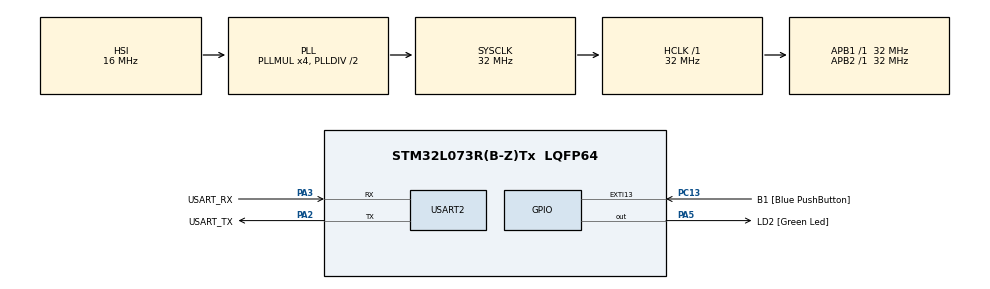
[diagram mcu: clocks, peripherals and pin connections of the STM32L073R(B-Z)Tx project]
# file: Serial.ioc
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Mcu.Family=STM32L0
Mcu.Name=STM32L073R(B-Z)Tx
Mcu.Package=LQFP64
PA13.GPIO_Label=TMS
PA13.Mode=Serial_Wire
PA13.Signal=SYS_SWDIO
PA14.GPIO_Label=TCK
PA14.Mode=Serial_Wire
PA14.Signal=SYS_SWCLK
PA2.GPIO_Label=USART_TX
PA2.Mode=Asynchronous
PA2.Signal=USART2_TX
PA3.GPIO_Label=USART_RX
PA3.Mode=Asynchronous
PA3.Signal=USART2_RX
PA5.GPIO_Label=LD2 [Green Led]
PA5.Signal=GPIO_Output
PC13.GPIO_Label=B1 [Blue PushButton]
PC13.GPIO_ModeDefaultEXTI=GPIO_MODE_IT_FALLING
PC13.Signal=GPXTI13
PC14-OSC32_IN.Signal=RCC_OSC32_IN
PC15-OSC32_OUT.Signal=RCC_OSC32_OUT
PH0-OSC_IN.GPIO_Label=MCO
PH0-OSC_IN.Signal=RCC_OSC_IN
ProjectManager.HeapSize=0x200
ProjectManager.StackSize=0x400
ProjectManager.TargetToolchain=STM32CubeIDE
RCC.AHBFreq_Value=32000000
RCC.APB1Freq_Value=32000000
RCC.APB1TimFreq_Value=32000000
RCC.APB2Freq_Value=32000000
RCC.APB2TimFreq_Value=32000000
RCC.HCLKFreq_Value=32000000
RCC.HSE_VALUE=8000000
RCC.HSI16_VALUE=16000000
RCC.HSI48_VALUE=48000000
RCC.HSI_VALUE=16000000
RCC.MSI_VALUE=2097000
RCC.PLLMUL=RCC_PLLMUL_4
RCC.SYSCLKFreq_VALUE=32000000
RCC.SYSCLKSource=RCC_SYSCLKSOURCE_PLLCLK
RCC.VCOOutputFreq_Value=64000000
USART2.VirtualMode-Asynchronous=VM_ASYNC
board=NUCLEO-L073RZ

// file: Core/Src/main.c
/* USER CODE BEGIN Header */
/**
  ******************************************************************************
  * @file           : main.c
  * @brief          : Main program body
  ******************************************************************************
  * @attention
  *
  * <h2><center>&copy; Copyright (c) 2019 STMicroelectronics.
  * All rights reserved.</center></h2>
  *
  * This software component is licensed by ST under BSD 3-Clause license,
  * the "License"; You may not use this file except in compliance with the
  * License. You may obtain a copy of the License at:
  *                        opensource.org/licenses/BSD-3-Clause
  *
  ******************************************************************************
  */
/* USER CODE END Header */

#include "main.h"
#include "usart.h"
#include "gpio.h"

/* USER CODE BEGIN PD */

#define MSG1 " Menu:\n\r Press 2: Toggle (for 5 sec. @5 Hz )\n\r Press 1:On Led\n\r Press 0:Off Led\n\r "
#define led_on HAL_GPIO_WritePin(LD2_GPIO_Port, LD2_Pin, 1)
#define led_off HAL_GPIO_WritePin(LD2_GPIO_Port, LD2_Pin, 0)
#define led_toggle HAL_GPIO_TogglePin(LD2_GPIO_Port, LD2_Pin)
/* USER CODE END PD */

/* USER CODE BEGIN PV */
uint8_t msg_send[] = MSG1;
uint8_t msg_rcv;

uint32_t current_tick;

/* USER CODE END PV */

void SystemClock_Config(void);

int main(void)
{

  /* MCU Configuration--------------------------------------------------------*/

  /* Reset of all peripherals, Initializes the Flash interface and the Systick. */
  HAL_Init();

  /* Configure the system clock */
  SystemClock_Config();

  /* Initialize all configured peripherals */
  MX_GPIO_Init();
  MX_USART2_UART_Init();

  /* Infinite loop */
  /* USER CODE BEGIN WHILE */
  while (1)
  {
	  HAL_UART_Transmit(&huart2, &msg_send, sizeof(msg_send),HAL_MAX_DELAY );
	  HAL_Delay(50);

	  HAL_UART_Receive(&huart2,&msg_rcv ,sizeof(msg_rcv) ,HAL_MAX_DELAY);
	  switch (msg_rcv)
	    {
	  	  	case '2':
			{
				current_tick = HAL_GetTick();
				while (HAL_GetTick()-current_tick <= 5000)
				{
					led_toggle;
					HAL_Delay(200);
				}
				led_off;

			}
				break;
	  	  	case '1':
	  		{
	  			led_on;
	  		}
	  			break;
	    	case '0':
	  		{
	  			led_off;
	  		}
	    		break;
	    	default:
	    		break;
	    }

    /* USER CODE END WHILE */

  }
}

void SystemClock_Config(void)
{
  RCC_OscInitTypeDef RCC_OscInitStruct = {0};
  RCC_ClkInitTypeDef RCC_ClkInitStruct = {0};
  RCC_PeriphCLKInitTypeDef PeriphClkInit = {0};

  /** Configure the main internal regulator output voltage
  */
  __HAL_PWR_VOLTAGESCALING_CONFIG(PWR_REGULATOR_VOLTAGE_SCALE1);
  /** Initializes the CPU, AHB and APB busses clocks
  */
  RCC_OscInitStruct.OscillatorType = RCC_OSCILLATORTYPE_HSI;
  RCC_OscInitStruct.HSIState = RCC_HSI_ON;
  RCC_OscInitStruct.HSICalibrationValue = RCC_HSICALIBRATION_DEFAULT;
  RCC_OscInitStruct.PLL.PLLState = RCC_PLL_ON;
  RCC_OscInitStruct.PLL.PLLSource = RCC_PLLSOURCE_HSI;
  RCC_OscInitStruct.PLL.PLLMUL = RCC_PLLMUL_4;
  RCC_OscInitStruct.PLL.PLLDIV = RCC_PLLDIV_2;
  if (HAL_RCC_OscConfig(&RCC_OscInitStruct) != HAL_OK)
  {
    Error_Handler();
  }
  /** Initializes the CPU, AHB and APB busses clocks
  */
  RCC_ClkInitStruct.ClockType = RCC_CLOCKTYPE_HCLK|RCC_CLOCKTYPE_SYSCLK
                              |RCC_CLOCKTYPE_PCLK1|RCC_CLOCKTYPE_PCLK2;
  RCC_ClkInitStruct.SYSCLKSource = RCC_SYSCLKSOURCE_PLLCLK;
  RCC_ClkInitStruct.AHBCLKDivider = RCC_SYSCLK_DIV1;
  RCC_ClkInitStruct.APB1CLKDivider = RCC_HCLK_DIV1;
  RCC_ClkInitStruct.APB2CLKDivider = RCC_HCLK_DIV1;

  if (HAL_RCC_ClockConfig(&RCC_ClkInitStruct, FLASH_LATENCY_1) != HAL_OK)
  {
    Error_Handler();
  }
  PeriphClkInit.PeriphClockSelection = RCC_PERIPHCLK_USART2;
  PeriphClkInit.Usart2ClockSelection = RCC_USART2CLKSOURCE_PCLK1;
  if (HAL_RCCEx_PeriphCLKConfig(&PeriphClkInit) != HAL_OK)
  {
    Error_Handler();
  }
}

void Error_Handler(void)
{
}

/************************ (C) COPYRIGHT STMicroelectronics *****END OF FILE****/
